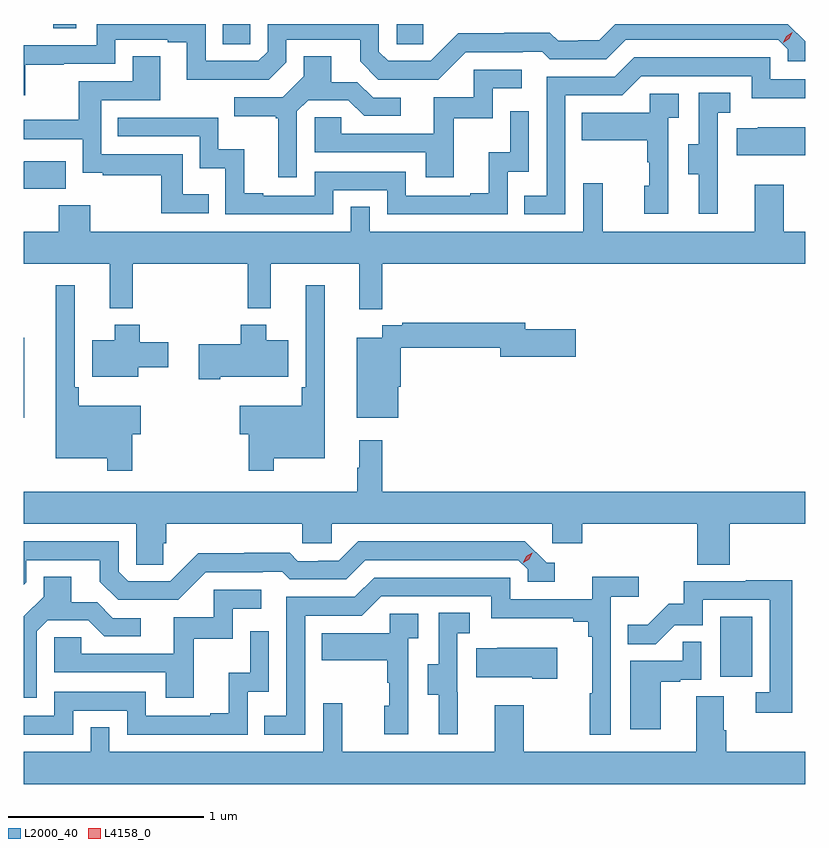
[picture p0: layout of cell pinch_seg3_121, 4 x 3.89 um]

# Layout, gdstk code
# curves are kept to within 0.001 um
import gdstk
lib = gdstk.Library(unit=1e-6, precision=1e-09)
def R(c, l, rs):  # rectangles x0, y0, x1, y1
    for r in rs: c.add(gdstk.rectangle(r[:2], r[2:], *l))
def P(c, l, *ps):  # polygons
    for p in ps: c.add(gdstk.Polygon(p, *l))
L2000_40 = (2000, 40)
L4158_0 = (4158, 0)

pinch_seg3_121 = lib.new_cell('pinch_seg3_121')
R(pinch_seg3_121, L2000_40, [(1074.23,713.454,1074.394,713.761), (1070.664,714.779,1070.665,715.189), (1071.683,716.692,1071.822,716.796), (1072.572,716.692,1072.709,716.796), (1070.815,716.773,1070.931,716.796)])
P(pinch_seg3_121, L2000_40, [(1070.671,716.587),(1070.867,716.587),(1070.867,716.592),(1071.132,716.592),(1071.132,716.715),(1071.401,716.715),(1071.401,716.703),(1071.497,716.703),(1071.497,716.51),(1071.918,716.511),(1072.008,716.601),(1072.008,716.715),(1072.385,716.715),(1072.385,716.605),(1072.479,716.511),(1072.785,716.511),(1072.926,716.652),(1073.219,716.652),(1073.219,716.655),(1073.318,716.655),(1073.357,716.616),(1073.646,716.616),(1073.745,716.715),(1074.528,716.715),(1074.576,716.667),(1074.576,716.604),(1074.664,716.604),(1074.664,716.708),(1074.576,716.796),(1073.693,716.796),(1073.609,716.712),(1073.502,716.712),(1073.502,716.709),(1073.399,716.709),(1073.357,716.752),(1073.124,716.752),(1073.124,716.749),(1072.888,716.749),(1072.746,716.607),(1072.53,716.607),(1072.482,716.655),(1072.482,716.796),(1071.912,716.796),(1071.912,716.655),(1071.864,716.607),(1071.594,716.607),(1071.594,716.796),(1071.036,716.796),(1071.036,716.688),(1070.664,716.688),(1070.664,716.432),(1070.671,716.432)],
  [(1072.062,716.349),(1072.119,716.406),(1072.325,716.406),(1072.406,716.325),(1072.594,716.325),(1072.594,716.418),(1072.452,716.418),(1072.372,716.498),(1072.237,716.498),(1072.237,716.63),(1072.097,716.63),(1072.097,716.528),(1071.99,716.421),(1071.741,716.421),(1071.741,716.324),(1071.954,716.324),(1071.954,716.313),(1071.965,716.313),(1071.965,716.01),(1072.062,716.01)],
  [(1071.611,715.924),(1071.477,715.924),(1071.477,716.13),(1071.06,716.13),(1071.06,716.406),(1071.361,716.406),(1071.361,716.63),(1071.221,716.63),(1071.221,716.502),(1070.944,716.502),(1070.944,716.306),(1070.664,716.306),(1070.664,716.205),(1070.964,716.205),(1070.964,716.033),(1071.067,716.033),(1071.067,716.022),(1071.366,716.022),(1071.366,715.827),(1071.611,715.827)],
  [(1073.436,716.43),(1073.727,716.43),(1073.826,716.529),(1074.39,716.529),(1074.39,716.417),(1074.664,716.417),(1074.664,716.514),(1074.486,716.514),(1074.486,716.625),(1073.789,716.625),(1073.69,716.526),(1073.34,716.526),(1073.34,715.917),(1073.227,715.917),(1073.227,715.821),(1073.436,715.821)],
  [(1072.865,716.313),(1073.064,716.313),(1073.064,716.466),(1073.212,716.466),(1073.212,716.562),(1072.968,716.562),(1072.968,716.421),(1072.763,716.421),(1072.763,716.235),(1072.289,716.235),(1072.289,716.319),(1072.152,716.319),(1072.152,716.139),(1072.721,716.139),(1072.721,716.01),(1072.865,716.01)],
  [(1074.218,716.037),(1074.216,716.037),(1074.216,716.341),(1074.28,716.341),(1074.28,716.444),(1074.12,716.444),(1074.12,716.181),(1074.065,716.181),(1074.065,716.026),(1074.119,716.026),(1074.119,715.824),(1074.218,715.824)],
  [(1073.964,716.315),(1074.016,716.315),(1074.016,716.439),(1073.868,716.439),(1073.868,716.341),(1073.521,716.341),(1073.521,716.201),(1073.856,716.201),(1073.856,716.087),(1073.866,716.087),(1073.866,715.968),(1073.84,715.968),(1073.84,715.824),(1073.964,715.824)],
  [(1072.248,715.944),(1072.524,715.944),(1072.524,715.821),(1073.142,715.821),(1073.142,716.04),(1073.25,716.04),(1073.25,716.35),(1073.154,716.35),(1073.154,716.138),(1073.045,716.138),(1073.045,715.93),(1072.949,715.93),(1072.949,715.917),(1072.62,715.917),(1072.62,716.04),(1072.152,716.04),(1072.152,715.917),(1071.889,715.917),(1071.889,715.93),(1071.793,715.93),(1071.793,716.155),(1071.66,716.155),(1071.66,716.316),(1071.145,716.316),(1071.145,716.22),(1071.564,716.22),(1071.564,716.057),(1071.696,716.057),(1071.696,715.821),(1072.248,715.821)],
  [(1074.664,716.266),(1074.421,716.266),(1074.421,716.263),(1074.313,716.263),(1074.313,716.123),(1074.664,716.123)],
  [(1070.879,716.092),(1070.665,716.092),(1070.665,716.091),(1070.664,716.091),(1070.664,715.952),(1070.879,715.952)],
  [(1072.498,715.568),(1074.664,715.568),(1074.664,715.732),(1074.555,715.732),(1074.555,715.972),(1074.407,715.972),(1074.407,715.732),(1073.627,715.732),(1073.627,715.981),(1073.529,715.981),(1073.529,715.732),(1072.434,715.732),(1072.434,715.859),(1072.338,715.859),(1072.338,715.732),(1071.003,715.732),(1071.003,715.867),(1070.843,715.867),(1070.843,715.732),(1070.664,715.732),(1070.664,715.568),(1071.104,715.568),(1071.104,715.34),(1071.221,715.34),(1071.221,715.568),(1071.811,715.568),(1071.811,715.34),(1071.929,715.34),(1071.929,715.568),(1072.382,715.568),(1072.382,715.335),(1072.498,715.335)],
  [(1071.943,714.572),(1072.204,714.572),(1072.204,715.459),(1072.107,715.459),(1072.107,714.937),(1072.087,714.937),(1072.087,714.841),(1071.77,714.841),(1071.77,714.694),(1071.814,714.694),(1071.814,714.507),(1071.943,714.507)],
  [(1071.218,714.694),(1071.262,714.694),(1071.262,714.841),(1070.945,714.841),(1070.945,714.937),(1070.925,714.937),(1070.925,715.459),(1070.828,715.459),(1070.828,714.572),(1071.09,714.572),(1071.09,714.507),(1071.218,714.507)],
  [(1072.582,714.939),(1072.594,714.939),(1072.594,715.138),(1073.102,715.138),(1073.102,715.091),(1073.491,715.091),(1073.491,715.233),(1073.23,715.233),(1073.23,715.267),(1072.6,715.267),(1072.6,715.254),(1072.498,715.254),(1072.498,715.189),(1072.367,715.189),(1072.367,714.779),(1072.582,714.779)],
  [(1071.25,715.037),(1071.403,715.037),(1071.403,715.167),(1071.258,715.167),(1071.258,715.255),(1071.128,715.255),(1071.128,715.177),(1071.014,715.177),(1071.014,714.989),(1071.25,714.989)],
  [(1071.67,714.989),(1072.018,714.989),(1072.018,715.177),(1071.904,715.177),(1071.904,715.255),(1071.775,715.255),(1071.775,715.155),(1071.558,715.155),(1071.558,714.977),(1071.67,714.977)],
  [(1071.377,714.138),(1071.392,714.138),(1071.392,714.236),(1072.089,714.236),(1072.089,714.138),(1072.239,714.138),(1072.239,714.236),(1073.37,714.236),(1073.37,714.138),(1073.522,714.138),(1073.522,714.236),(1074.113,714.236),(1074.113,714.028),(1074.278,714.028),(1074.278,714.236),(1074.664,714.236),(1074.664,714.4),(1072.499,714.4),(1072.499,714.664),(1072.382,714.664),(1072.382,714.524),(1072.371,714.524),(1072.371,714.4),(1070.664,714.4),(1070.664,714.236),(1071.24,714.236),(1071.24,714.028),(1071.377,714.028)],
  [(1071.594,713.988),(1071.887,713.988),(1071.887,713.991),(1071.986,713.991),(1072.025,713.952),(1072.314,713.952),(1072.413,714.051),(1073.196,714.051),(1073.244,714.003),(1073.244,713.94),(1073.383,713.94),(1073.383,714.036),(1073.34,714.036),(1073.229,714.147),(1072.376,714.147),(1072.277,714.048),(1072.17,714.048),(1072.17,714.045),(1072.067,714.045),(1072.025,714.088),(1071.792,714.088),(1071.792,714.085),(1071.556,714.085),(1071.414,713.943),(1071.198,713.943),(1071.15,713.991),(1071.15,714.147),(1070.664,714.147),(1070.664,713.925),(1070.676,713.937),(1070.676,714.051),(1071.053,714.051),(1071.053,713.941),(1071.147,713.847),(1071.453,713.847)],
  [(1070.73,713.685),(1070.787,713.742),(1070.993,713.742),(1071.074,713.661),(1071.262,713.661),(1071.262,713.754),(1071.12,713.754),(1071.04,713.834),(1070.905,713.834),(1070.905,713.966),(1070.765,713.966),(1070.765,713.864),(1070.664,713.763),(1070.664,713.346),(1070.73,713.346)],
  [(1072.104,713.766),(1072.395,713.766),(1072.494,713.865),(1073.058,713.865),(1073.058,713.753),(1073.477,713.753),(1073.477,713.734),(1073.554,713.734),(1073.554,713.657),(1073.573,713.657),(1073.573,713.369),(1073.562,713.369),(1073.562,713.157),(1073.67,713.157),(1073.67,713.864),(1073.812,713.864),(1073.812,713.966),(1073.573,713.966),(1073.573,713.85),(1073.154,713.85),(1073.154,713.961),(1072.457,713.961),(1072.358,713.862),(1072.008,713.862),(1072.008,713.253),(1071.895,713.253),(1071.895,713.157),(1072.104,713.157)],
  [(1074.599,713.948),(1074.361,713.948),(1074.361,713.943),(1074.043,713.943),(1074.043,713.826),(1073.966,713.826),(1073.859,713.719),(1073.755,713.719),(1073.755,713.62),(1073.899,713.62),(1073.997,713.718),(1074.141,713.718),(1074.141,713.847),(1074.483,713.847),(1074.483,713.373),(1074.411,713.373),(1074.411,713.268),(1074.599,713.268)],
  [(1071.533,713.649),(1071.732,713.649),(1071.732,713.802),(1071.88,713.802),(1071.88,713.898),(1071.636,713.898),(1071.636,713.757),(1071.431,713.757),(1071.431,713.571),(1070.957,713.571),(1070.957,713.655),(1070.82,713.655),(1070.82,713.475),(1071.389,713.475),(1071.389,713.346),(1071.533,713.346)],
  [(1072.886,713.373),(1072.884,713.373),(1072.884,713.677),(1072.948,713.677),(1072.948,713.78),(1072.788,713.78),(1072.788,713.517),(1072.733,713.517),(1072.733,713.362),(1072.787,713.362),(1072.787,713.16),(1072.886,713.16)],
  [(1072.632,713.651),(1072.684,713.651),(1072.684,713.775),(1072.536,713.775),(1072.536,713.677),(1072.189,713.677),(1072.189,713.537),(1072.524,713.537),(1072.524,713.423),(1072.534,713.423),(1072.534,713.304),(1072.508,713.304),(1072.508,713.16),(1072.632,713.16)],
  [(1070.916,713.28),(1071.192,713.28),(1071.192,713.157),(1071.81,713.157),(1071.81,713.376),(1071.918,713.376),(1071.918,713.686),(1071.822,713.686),(1071.822,713.474),(1071.713,713.474),(1071.713,713.266),(1071.617,713.266),(1071.617,713.253),(1071.288,713.253),(1071.288,713.376),(1070.82,713.376),(1070.82,713.253),(1070.664,713.253),(1070.664,713.157),(1070.916,713.157)],
  [(1073.926,713.427),(1074.026,713.427),(1074.026,713.439),(1074.132,713.439),(1074.132,713.633),(1074.037,713.633),(1074.037,713.535),(1073.768,713.535),(1073.768,713.184),(1073.926,713.184)],
  [(1073.395,713.602),(1073.089,713.602),(1073.089,713.599),(1072.981,713.599),(1072.981,713.45),(1073.267,713.45),(1073.267,713.443),(1073.395,713.443)],
  [(1074.664,713.068),(1074.26,713.068),(1074.26,713.18),(1074.247,713.18),(1074.247,713.354),(1074.107,713.354),(1074.107,713.068),(1073.223,713.068),(1073.223,713.308),(1073.075,713.308),(1073.075,713.068),(1072.295,713.068),(1072.295,713.317),(1072.197,713.317),(1072.197,713.068),(1071.102,713.068),(1071.102,713.195),(1071.006,713.195),(1071.006,713.068),(1070.664,713.068),(1070.664,712.904),(1074.664,712.904)])
P(pinch_seg3_121, L4158_0, [(1074.552,716.701),(1074.552,716.701),(1074.568,716.734),(1074.598,716.754),(1074.599,716.754),(1074.599,716.753),(1074.583,716.721),(1074.552,716.701)],
  [(1073.22,714.037),(1073.22,714.037),(1073.236,714.07),(1073.268,714.089),(1073.268,714.089),(1073.268,714.088),(1073.251,714.056),(1073.22,714.037)])

lib.write_gds('pinch_seg3_121.gds')
